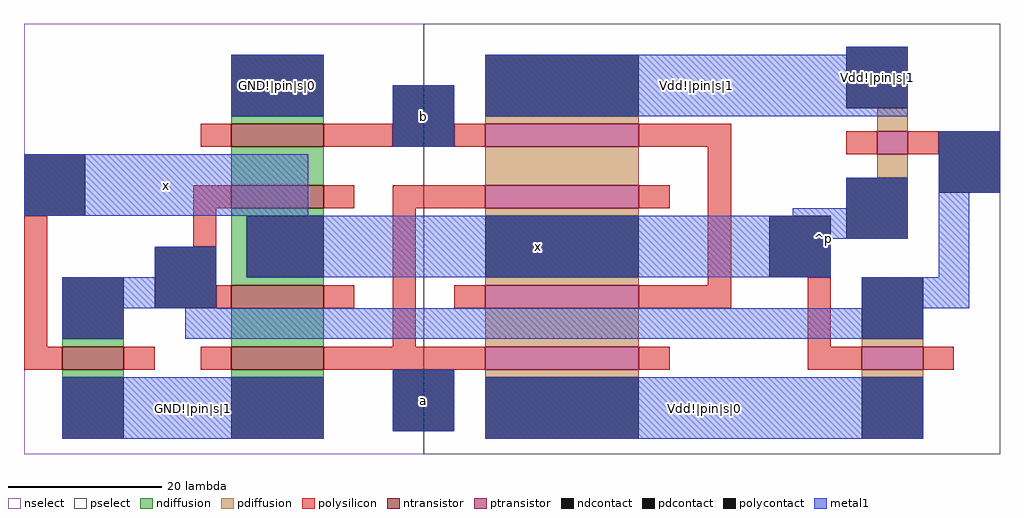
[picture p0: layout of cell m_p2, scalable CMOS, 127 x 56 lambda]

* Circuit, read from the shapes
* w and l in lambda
.subckt m_p2 GND!|pin|s|0 GND!|pin|s|1 Vdd!|pin|s|0 Vdd!|pin|s|1 a b x
M1 n1 x GND!|pin|s|1 VSUBS nfet w=8 l=3
M2 n2 a GND!|pin|s|1 VSUBS nfet w=12 l=3
M3 x n1 n2 VSUBS nfet w=12 l=3
M4 n3 n1 x VSUBS nfet w=12 l=3
M5 GND!|pin|s|0 b n3 VSUBS nfet w=12 l=3
M6 n4 a Vdd!|pin|s|0 NWELL pfet w=20 l=3
M7 x b n4 NWELL pfet w=20 l=3
M8 n5 a x NWELL pfet w=20 l=3
M9 Vdd!|pin|s|1 b n5 NWELL pfet w=20 l=3
M10 n1 x Vdd!|pin|s|0 NWELL pfet w=8 l=3
M11 Vdd!|pin|s|1 n1 x NWELL pfet w=4 l=3
.ends

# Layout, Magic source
magic
tech scmos
<< nselect >>
rect -52 -21 0 35
<< pselect >>
rect 0 -21 75 35
<< ndiffusion >>
rect -25 22 -13 23
rect -25 14 -13 19
rect -25 10 -13 11
rect -25 2 -23 10
rect -25 1 -13 2
rect -47 -7 -39 -6
rect -25 -7 -13 -2
rect -47 -11 -39 -10
rect -25 -11 -13 -10
<< pdiffusion >>
rect 8 22 28 23
rect 59 21 63 24
rect 8 14 28 19
rect 8 10 28 11
rect 8 1 28 2
rect 59 15 63 18
rect 8 -7 28 -2
rect 57 -7 65 -6
rect 8 -11 28 -10
rect 57 -11 65 -10
<< ntransistor >>
rect -25 19 -13 22
rect -25 11 -13 14
rect -25 -2 -13 1
rect -47 -10 -39 -7
rect -25 -10 -13 -7
<< ptransistor >>
rect 8 19 28 22
rect 8 11 28 14
rect 59 18 63 21
rect 8 -2 28 1
rect 8 -10 28 -7
rect 57 -10 65 -7
<< polysilicon >>
rect -29 19 -25 22
rect -13 19 -4 22
rect 4 19 8 22
rect 28 19 40 22
rect -30 11 -25 14
rect -13 11 -9 14
rect -4 11 8 14
rect 28 11 32 14
rect -52 -7 -49 10
rect -30 6 -27 11
rect -27 -2 -25 1
rect -13 -2 -9 1
rect -4 -7 -1 11
rect 37 1 40 19
rect 55 18 59 21
rect 63 18 67 21
rect 4 -2 8 1
rect 28 -2 40 1
rect 50 -7 53 2
rect -52 -10 -47 -7
rect -39 -10 -35 -7
rect -29 -10 -25 -7
rect -13 -10 8 -7
rect 28 -10 32 -7
rect 50 -10 57 -7
rect 65 -10 69 -7
<< ndcontact >>
rect -25 23 -13 31
rect -47 -6 -39 2
rect -23 2 -13 10
rect -47 -19 -39 -11
rect -25 -19 -13 -11
<< pdcontact >>
rect 8 23 28 31
rect 55 24 63 32
rect 8 2 28 10
rect 55 7 63 15
rect 57 -6 65 2
rect 8 -19 28 -11
rect 57 -19 65 -11
<< polycontact >>
rect -4 19 4 27
rect -52 10 -44 18
rect -35 -2 -27 6
rect 45 2 53 10
rect 67 13 75 21
rect -4 -18 4 -10
<< metal1 >>
rect 55 31 63 32
rect -25 23 -13 31
rect -4 19 4 27
rect 8 23 63 31
rect -52 10 -15 18
rect 55 11 63 15
rect 48 10 63 11
rect -23 7 63 10
rect 67 13 75 21
rect -35 2 -27 6
rect -23 2 53 7
rect 67 2 71 13
rect -47 -2 -27 2
rect 57 -2 71 2
rect -47 -6 -39 -2
rect -31 -6 65 -2
rect -47 -19 -13 -11
rect -4 -18 4 -10
rect 8 -19 65 -11
<< labels >>
rlabel space 28 -21 76 35 3 ^p
rlabel metal1 8 23 63 31 1 Vdd!|pin|s|1
rlabel metal1 -25 23 -13 31 1 GND!|pin|s|0
rlabel metal1 -47 -19 -13 -11 1 GND!|pin|s|1
rlabel metal1 8 -19 65 -11 1 Vdd!|pin|s|0
rlabel metal1 -4 -18 4 -10 1 a
rlabel metal1 -4 19 4 27 1 b
rlabel metal1 -23 2 53 10 1 x
rlabel metal1 -52 10 -15 18 1 x
rlabel metal1 55 24 63 32 1 Vdd!|pin|s|1
<< end >>
